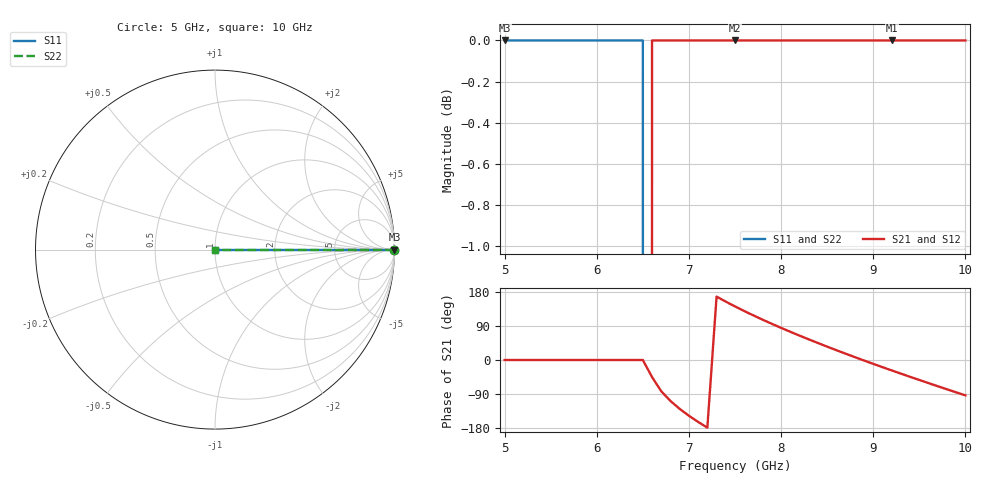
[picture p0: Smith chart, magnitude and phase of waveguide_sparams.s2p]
# Hz S MA R 50
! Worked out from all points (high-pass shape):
!   51 points, 5 GHz to 10 GHz, reference 50 ohm
!   highest |S21| = 0.00 dB at 9.2 GHz (marker M1); lowest = 0.0 dB at 7.5 GHz (marker M2)
!   |S21| within 3 dB of the highest: 6.598 GHz to end of sweep
!   lowest |S11| = 0.0 dB at 5 GHz (marker M3)
!   |S11| at or under -10 dB: 6.505 GHz to end of sweep
!   |S22| runs from - to 0.0 dB; largest |S21 - S12| = 0
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5e9  1 0.0  0 -0.0  0 -0.0  1 0.0
5.9e9  1 0.0  0 -0.0  0 -0.0  1 0.0
6.5e9  1 0.0  0 -0.0  0 -0.0  1 0.0
6.6e9  0 0.0  1 -45.1  1 -45.1  0 0.0
6.7e9  0 0.0  1 -82.6  1 -82.6  0 0.0
6.8e9  0 0.0  1 -108.1  1 -108.1  0 0.0
6.9e9  0 0.0  1 -129.0  1 -129.0  0 0.0
7e9  0 0.0  1 -147.1  1 -147.1  0 0.0
7.1e9  0 0.0  1 -163.5  1 -163.5  0 0.0
7.3e9  0 0.0  1 -192.6  1 -192.6  0 0.0
7.5e9  0 0.0  1 -218.6  1 -218.6  0 0.0
7.7e9  0 0.0  1 -242.4  1 -242.4  0 0.0
7.9e9  0 0.0  1 -264.6  1 -264.6  0 0.0
8.1e9  0 0.0  1 -285.5  1 -285.5  0 0.0
8.4e9  0 0.0  1 -315.2  1 -315.2  0 0.0
8.6e9  0 0.0  1 -334.1  1 -334.1  0 0.0
8.8e9  0 0.0  1 -352.4  1 -352.4  0 0.0
9e9  0 0.0  1 -370.1  1 -370.1  0 0.0
9.2e9  0 0.0  1 -387.5  1 -387.5  0 0.0
9.6e9  0 0.0  1 -421.0  1 -421.0  0 0.0
9.8e9  0 0.0  1 -437.3  1 -437.3  0 0.0
1e10  0 0.0  1 -453.3  1 -453.3  0 0.0
